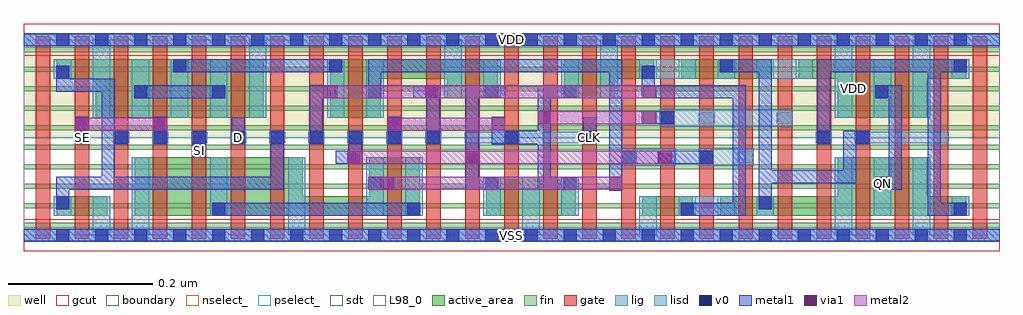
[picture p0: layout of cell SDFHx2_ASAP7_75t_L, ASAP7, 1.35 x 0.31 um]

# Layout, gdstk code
import gdstk
lib = gdstk.Library(unit=1e-6, precision=2.5e-10)
def R(c, l, rs):  # rectangles x0, y0, x1, y1
    for r in rs: c.add(gdstk.rectangle(r[:2], r[2:], *l))
def A(c, l, x, y, w, h, nx, ny, dx, dy):  # array of equal rectangles
    R(c, l, [(x+i*dx, y+j*dy, x+i*dx+w, y+j*dy+h) for i in range(nx) for j in range(ny)])
def P(c, l, *ps):  # polygons
    for p in ps: c.add(gdstk.Polygon(p, *l))
well = (1, 0)
fin = (2, 0)
gate = (7, 0)
gcut = (10, 0)
active_area = (11, 0)
nselect_ = (12, 0)
pselect_ = (13, 0)
lig = (16, 0)
lisd = (17, 0)
v0 = (18, 0)
metal1 = (19, 0)
metal2 = (20, 0)
via1 = (21, 0)
sdt = (88, 0)
L98_0 = (98, 0)
boundary = (100, 0)

sdfhx2_asap7_75t_l = lib.new_cell('SDFHx2_ASAP7_75t_L')
R(sdfhx2_asap7_75t_l, well, [(0,0.135,1.35,0.27)])
A(sdfhx2_asap7_75t_l, fin, 0, 0.01, 1.35, 0.007, 1, 10, 0, 0.027)
A(sdfhx2_asap7_75t_l, gate, 0.017, -0.005, 0.02, 0.28, 25, 1, 0.054, 0)
R(sdfhx2_asap7_75t_l, gcut, [(0,-0.022,1.35,0.022), (0,0.248,1.35,0.292)])
R(sdfhx2_asap7_75t_l, active_area, [(0.046,0.027,0.116,0.054), (0.64,0.027,0.764,0.081), (0.856,0.027,0.926,0.054), (0.91,0.216,1.034,0.243)])
P(sdfhx2_asap7_75t_l, active_area, [(1.126,0.054),(0.964,0.054),(0.964,0.027),(1.304,0.027),(1.304,0.054),(1.25,0.054),(1.25,0.108),(1.126,0.108)],
  [(0.386,0.108),(0.154,0.108),(0.154,0.027),(0.548,0.027),(0.548,0.108),(0.478,0.108),(0.478,0.054),(0.386,0.054)],
  [(0.586,0.189),(0.656,0.189),(0.656,0.243),(0.424,0.243),(0.424,0.162),(0.494,0.162),(0.494,0.216),(0.586,0.216)],
  [(0.748,0.189),(0.818,0.189),(0.818,0.216),(0.872,0.216),(0.872,0.243),(0.748,0.243)],
  [(1.072,0.216),(1.126,0.216),(1.126,0.162),(1.25,0.162),(1.25,0.216),(1.304,0.216),(1.304,0.243),(1.072,0.243)],
  [(0.046,0.216),(0.1,0.216),(0.1,0.162),(0.332,0.162),(0.332,0.243),(0.046,0.243)])
R(sdfhx2_asap7_75t_l, nselect_, [(0,0,1.35,0.135)])
R(sdfhx2_asap7_75t_l, pselect_, [(0,0.135,1.35,0.27)])
A(sdfhx2_asap7_75t_l, lig, 0.07, 0.127, 0.022, 0.016, 10, 1, 0.054, 0)
R(sdfhx2_asap7_75t_l, lig, [(0,-0.008,1.35,0.008), (0.826,0.1,0.848,0.116), (0.88,0.1,0.902,0.116), (0.988,0.1,1.01,0.116), (0.61,0.127,0.686,0.143), (0.718,0.127,0.794,0.143), (1.096,0.127,1.118,0.143), (1.15,0.127,1.28,0.143), (0.934,0.154,0.956,0.17), (1.042,0.154,1.064,0.17), (0,0.262,1.35,0.278)])
A(sdfhx2_asap7_75t_l, lisd, 0.15, 0.162, 0.024, 0.081, 3, 1, 0.054, 0)
R(sdfhx2_asap7_75t_l, lisd, [(0.096,0,0.12,0.054), (0.15,0,0.174,0.108), (0.366,0,0.39,0.108), (0.69,0,0.714,0.081), (0.852,0,0.876,0.054), (1.122,0,1.146,0.108), (1.23,0,1.254,0.108), (0.042,0.027,0.066,0.054), (0.258,0.027,0.282,0.108), (0.474,0.027,0.498,0.108), (0.528,0.027,0.552,0.108), (0.636,0.027,0.66,0.081), (0.744,0.027,0.768,0.081), (0.906,0.027,0.984,0.054), (1.014,0.027,1.038,0.054), (1.176,0.027,1.2,0.108), (1.284,0.027,1.308,0.054), (0.826,0.096,0.902,0.12), (0.934,0.096,1.01,0.12), (0.88,0.15,1.064,0.174), (0.096,0.162,0.12,0.27), (0.312,0.162,0.336,0.27), (0.42,0.162,0.444,0.243), (0.474,0.162,0.498,0.243), (1.122,0.162,1.146,0.27), (1.176,0.162,1.2,0.243), (1.23,0.162,1.254,0.27), (0.582,0.189,0.606,0.27), (0.636,0.189,0.66,0.243), (0.744,0.189,0.768,0.243), (0.798,0.189,0.822,0.27), (0.042,0.216,0.066,0.243), (0.852,0.216,0.93,0.243), (0.96,0.216,0.984,0.243), (1.014,0.216,1.092,0.243), (1.284,0.216,1.308,0.243)])
A(sdfhx2_asap7_75t_l, v0, 0.045, -0.009, 0.018, 0.018, 24, 2, 0.054, 0.27)
A(sdfhx2_asap7_75t_l, v0, 0.531, 0.027, 0.018, 0.018, 3, 1, 0.378, 0)
A(sdfhx2_asap7_75t_l, v0, 0.072, 0.126, 0.018, 0.018, 10, 1, 0.054, 0)
R(sdfhx2_asap7_75t_l, v0, [(0.261,0.027,0.279,0.045), (0.045,0.036,0.063,0.054), (1.017,0.036,1.035,0.054), (0.477,0.063,0.495,0.081), (0.639,0.063,0.657,0.081), (0.747,0.063,0.765,0.081), (1.179,0.063,1.197,0.081), (0.828,0.099,0.846,0.117), (0.936,0.099,0.954,0.117), (0.666,0.126,0.684,0.144), (0.774,0.126,0.792,0.144), (1.098,0.126,1.116,0.144), (1.152,0.126,1.17,0.144), (0.882,0.153,0.9,0.171), (0.153,0.189,0.171,0.207), (0.261,0.189,0.279,0.207), (0.477,0.189,0.495,0.207), (0.639,0.189,0.657,0.207), (0.747,0.189,0.765,0.207), (1.178,0.189,1.196,0.207), (0.045,0.216,0.063,0.234), (0.855,0.216,0.873,0.234), (0.207,0.225,0.225,0.243), (0.423,0.225,0.441,0.243), (0.963,0.225,0.981,0.243), (1.287,0.225,1.305,0.243)])
R(sdfhx2_asap7_75t_l, metal1, [(0,-0.009,1.35,0.009), (0.261,0.027,0.549,0.045), (0.477,0.063,0.514,0.081), (0.877,0.099,0.954,0.117), (0.234,0.108,0.252,0.144), (0.072,0.126,0.09,0.164), (0.18,0.126,0.198,0.164), (0.288,0.126,0.306,0.162), (0.504,0.126,0.522,0.164), (0.774,0.126,0.792,0.163), (0.855,0.153,0.9,0.171), (0.153,0.189,0.279,0.207), (0.207,0.225,0.441,0.243), (0,0.261,1.35,0.279)])
P(sdfhx2_asap7_75t_l, metal1, [(0.468,0.144),(0.45,0.144),(0.45,0.117),(0.432,0.117),(0.432,0.099),(0.468,0.099)],
  [(0.576,0.207),(0.539,0.207),(0.539,0.189),(0.558,0.189),(0.558,0.126),(0.576,0.126)],
  [(0.434,0.207),(0.396,0.207),(0.396,0.126),(0.414,0.126),(0.414,0.189),(0.434,0.189)],
  [(1.215,0.207),(1.178,0.207),(1.178,0.189),(1.197,0.189),(1.197,0.081),(1.179,0.081),(1.179,0.063),(1.215,0.063)],
  [(0.765,0.081),(0.729,0.081),(0.729,0.189),(0.765,0.189),(0.765,0.207),(0.711,0.207),(0.711,0.144),(0.666,0.144),(0.666,0.164),(0.648,0.164),(0.648,0.126),(0.711,0.126),(0.711,0.063),(0.765,0.063)],
  [(0.657,0.081),(0.63,0.081),(0.63,0.189),(0.667,0.189),(0.667,0.207),(0.612,0.207),(0.612,0.063),(0.657,0.063)],
  [(0.828,0.099),(0.846,0.099),(0.846,0.117),(0.828,0.117),(0.828,0.243),(0.477,0.243),(0.477,0.189),(0.495,0.189),(0.495,0.225),(0.81,0.225),(0.81,0.061),(0.828,0.061)],
  [(0.999,0.207),(0.873,0.207),(0.873,0.234),(0.855,0.234),(0.855,0.189),(0.981,0.189),(0.981,0.045),(0.909,0.045),(0.909,0.027),(0.999,0.027)],
  [(1.035,0.072),(1.152,0.072),(1.152,0.126),(1.17,0.126),(1.17,0.144),(1.134,0.144),(1.134,0.09),(1.035,0.09),(1.035,0.243),(0.963,0.243),(0.963,0.225),(1.017,0.225),(1.017,0.036),(1.035,0.036)],
  [(1.305,0.243),(1.098,0.243),(1.098,0.126),(1.116,0.126),(1.116,0.225),(1.251,0.225),(1.251,0.027),(1.305,0.027),(1.305,0.045),(1.269,0.045),(1.269,0.225),(1.305,0.225)],
  [(0.063,0.063),(0.36,0.063),(0.36,0.144),(0.342,0.144),(0.342,0.081),(0.126,0.081),(0.126,0.126),(0.144,0.126),(0.144,0.144),(0.126,0.144),(0.126,0.216),(0.063,0.216),(0.063,0.234),(0.045,0.234),(0.045,0.198),(0.108,0.198),(0.108,0.081),(0.045,0.081),(0.045,0.036),(0.063,0.036)])
R(sdfhx2_asap7_75t_l, metal2, [(0.477,0.063,0.828,0.081), (0.448,0.099,0.897,0.117), (0.072,0.144,0.198,0.162), (0.504,0.144,0.666,0.162), (0.711,0.153,0.875,0.171), (0.414,0.189,0.875,0.207)])
R(sdfhx2_asap7_75t_l, via1, [(0.494,0.063,0.512,0.081), (0.81,0.063,0.828,0.081), (0.448,0.099,0.466,0.117), (0.612,0.099,0.63,0.117), (0.879,0.099,0.897,0.117), (0.072,0.144,0.09,0.162), (0.18,0.144,0.198,0.162), (0.504,0.144,0.522,0.162), (0.648,0.144,0.666,0.162), (0.711,0.153,0.729,0.171), (0.857,0.153,0.875,0.171), (0.414,0.189,0.432,0.207), (0.556,0.189,0.574,0.207), (0.857,0.189,0.875,0.207)])
A(sdfhx2_asap7_75t_l, sdt, 0.15, 0.027, 0.024, 0.081, 4, 1, 0.108, 0)
A(sdfhx2_asap7_75t_l, sdt, 0.636, 0.027, 0.024, 0.054, 3, 1, 0.054, 0)
A(sdfhx2_asap7_75t_l, sdt, 0.852, 0.027, 0.024, 0.027, 4, 1, 0.054, 0)
A(sdfhx2_asap7_75t_l, sdt, 1.122, 0.027, 0.024, 0.081, 3, 2, 0.054, 0.135)
A(sdfhx2_asap7_75t_l, sdt, 0.096, 0.162, 0.024, 0.081, 5, 1, 0.054, 0)
A(sdfhx2_asap7_75t_l, sdt, 0.852, 0.216, 0.024, 0.027, 5, 1, 0.054, 0)
R(sdfhx2_asap7_75t_l, sdt, [(0.042,0.027,0.066,0.054), (0.096,0.027,0.12,0.054), (0.528,0.027,0.552,0.108), (1.284,0.027,1.308,0.054), (0.42,0.162,0.444,0.243), (0.474,0.162,0.498,0.243), (0.582,0.189,0.606,0.243), (0.636,0.189,0.66,0.243), (0.744,0.189,0.768,0.243), (0.798,0.189,0.822,0.243), (0.042,0.216,0.066,0.243), (1.284,0.216,1.308,0.243)])
R(sdfhx2_asap7_75t_l, L98_0, [(0,0,1.35,0.27)])
R(sdfhx2_asap7_75t_l, boundary, [(0,0,1.35,0.27)])
sdfhx2_asap7_75t_l.add(gdstk.Label('VDD', (1.1475,0.2025), layer=1, texttype=251))
sdfhx2_asap7_75t_l.add(gdstk.Label('VSS', (1.5525,0.2025), layer=3, texttype=251))
sdfhx2_asap7_75t_l.add(gdstk.Label('SI', (0.243,0.117), layer=19, texttype=251))
sdfhx2_asap7_75t_l.add(gdstk.Label('SE', (0.081,0.135), layer=19, texttype=251))
sdfhx2_asap7_75t_l.add(gdstk.Label('QN', (1.188,0.072), layer=19, texttype=251))
sdfhx2_asap7_75t_l.add(gdstk.Label('D', (0.297,0.135), layer=19, texttype=251))
sdfhx2_asap7_75t_l.add(gdstk.Label('CLK', (0.783,0.135), layer=19, texttype=251))
sdfhx2_asap7_75t_l.add(gdstk.Label('VSS', (0.675,0), layer=19, texttype=251))
sdfhx2_asap7_75t_l.add(gdstk.Label('VDD', (0.675,0.27), layer=19, texttype=251))

lib.write_gds('SDFHx2_ASAP7_75t_L.gds')
